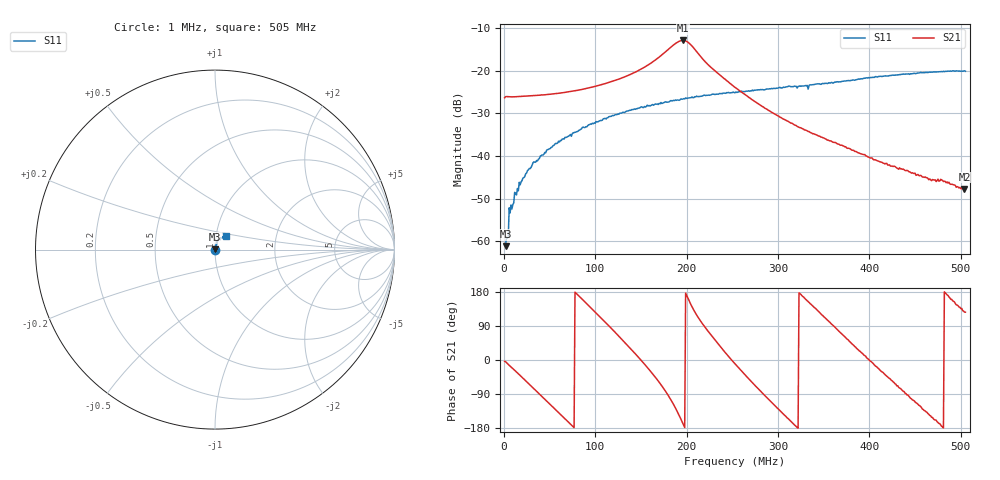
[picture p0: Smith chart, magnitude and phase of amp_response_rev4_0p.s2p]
# HZ S RI R 50
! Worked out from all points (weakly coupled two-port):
!   505 points, 1 MHz to 505 MHz, reference 50 ohm
!   highest |S21| = -12.91 dB at 196 MHz (marker M1); lowest = -47.8 dB at 504 MHz (marker M2)
!   lowest |S11| = -61.2 dB at 2 MHz (marker M3), VSWR 1.00, Z = 49.9 + j0.0567 ohm
!   |S11| at or under -10 dB: start of sweep to end of sweep
!   S12 and S22 are empty: the file has one direction only
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1000000  -0.000756 0.000488  0.048 -0.00308  0 0  0 0
2000000  -0.000663 0.000568  0.0494 -0.00375  0 0  0 0
3000000  -4.19e-05 0.00109  0.0493 -0.00588  0 0  0 0
8000000  0.0004 0.00262  0.0468 -0.0155  0 0  0 0
1.9e7  0.00114 0.00482  0.0363 -0.0341  0 0  0 0
2.6e7  0.00146 0.00654  0.0257 -0.0435  0 0  0 0
4.9e7  0.003 0.0115  -0.0206 -0.0485  0 0  0 0
8.5e7  0.00587 0.0198  -0.0572 0.0181  0 0  0 0
1.3e8  0.00893 0.0311  0.0502 0.0658  0 0  0 0
1.53e8  0.00884 0.0358  0.1072 -0.0154  0 0  0 0
1.69e8  0.00964 0.0389  0.0804 -0.1162  0 0  0 0
1.85e8  0.0113 0.043  -0.0797 -0.1803  0 0  0 0
1.96e8  0.0117 0.0449  -0.2207 -0.0493  0 0  0 0
2.05e8  0.012 0.0467  -0.1636 0.1143  0 0  0 0
2.12e8  0.0133 0.0478  -0.068 0.147  0 0  0 0
2.3e8  0.0146 0.0509  0.0566 0.0846  0 0  0 0
2.53e8  0.0155 0.0529  0.0627 -0.0109  0 0  0 0
2.97e8  0.0217 0.0577  -0.016 -0.0263  0 0  0 0
3.37e8  0.029 0.0618  -0.0152 0.0106  0 0  0 0
4.21e8  0.0488 0.0715  0.00529 -0.00573  0 0  0 0
5.04e8  0.0609 0.0789  -0.00242 0.00329  0 0  0 0
5.05e8  0.0606 0.0776  -0.00251 0.00343  0 0  0 0
